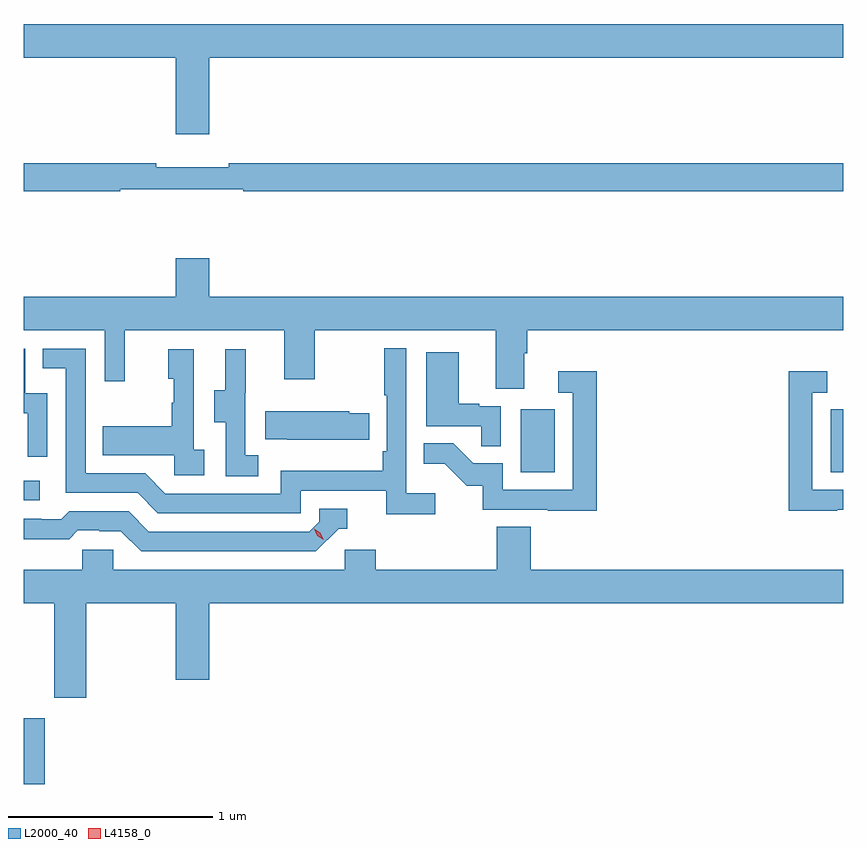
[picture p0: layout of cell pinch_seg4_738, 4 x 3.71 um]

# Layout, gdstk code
import gdstk
lib = gdstk.Library(unit=1e-6, precision=1e-09)
def R(c, l, rs):  # rectangles x0, y0, x1, y1
    for r in rs: c.add(gdstk.rectangle(r[:2], r[2:], *l))
def P(c, l, *ps):  # polygons
    for p in ps: c.add(gdstk.Polygon(p, *l))
L2000_40 = (2000, 40)
L4158_0 = (4158, 0)

pinch_seg4_738 = lib.new_cell('pinch_seg4_738')
R(pinch_seg4_738, L2000_40, [(871.559,822.577,871.66,822.898), (871.559,823.962,871.636,824.058), (873.986,824.1,874.15,824.407), (875.498,824.1,875.559,824.407)])
P(pinch_seg4_738, L2000_40, [(872.464,826.124),(875.559,826.124),(875.559,826.288),(871.559,826.288),(871.559,826.124),(872.3,826.124),(872.3,825.75),(872.464,825.75)],
  [(872.03,825.48),(872.63,825.48),(872.63,825.472),(875.559,825.472),(875.559,825.608),(872.56,825.608),(872.56,825.589),(872.204,825.589),(872.204,825.608),(871.559,825.608),(871.559,825.472),(872.03,825.472)],
  [(874.003,824.68),(874.016,824.68),(874.016,824.792),(875.559,824.792),(875.559,824.956),(872.464,824.956),(872.464,825.145),(872.3,825.145),(872.3,824.956),(871.559,824.956),(871.559,824.792),(871.953,824.792),(871.953,824.544),(872.051,824.544),(872.051,824.792),(872.831,824.792),(872.831,824.553),(872.979,824.553),(872.979,824.792),(873.863,824.792),(873.863,824.506),(874.003,824.506)],
  [(873.568,823.996),(873.426,823.996),(873.426,824.704),(873.318,824.704),(873.318,824.476),(873.33,824.476),(873.33,824.203),(873.31,824.203),(873.31,824.107),(872.814,824.107),(872.814,823.995),(872.25,823.995),(872.151,824.094),(871.86,824.094),(871.86,824.703),(871.651,824.703),(871.651,824.607),(871.764,824.607),(871.764,823.998),(872.114,823.998),(872.213,823.899),(872.91,823.899),(872.91,824.01),(873.329,824.01),(873.329,823.894),(873.568,823.894)],
  [(871.674,824.484),(871.566,824.484),(871.566,824.703),(871.559,824.703),(871.559,824.387),(871.578,824.387),(871.578,824.175),(871.674,824.175)],
  [(872.44,824.21),(872.388,824.21),(872.388,824.701),(872.264,824.701),(872.264,824.556),(872.29,824.556),(872.29,824.438),(872.28,824.438),(872.28,824.323),(871.945,824.323),(871.945,824.183),(872.292,824.183),(872.292,824.085),(872.44,824.085)],
  [(872.704,824.183),(872.64,824.183),(872.64,824.487),(872.642,824.487),(872.642,824.701),(872.543,824.701),(872.543,824.499),(872.489,824.499),(872.489,824.344),(872.544,824.344),(872.544,824.08),(872.704,824.08)],
  [(873.888,824.421),(873.782,824.421),(873.782,824.434),(873.682,824.434),(873.682,824.686),(873.524,824.686),(873.524,824.325),(873.793,824.325),(873.793,824.227),(873.888,824.227)],
  [(875.531,823.917),(875.559,823.917),(875.559,824.013),(875.409,824.013),(875.409,824.487),(875.482,824.487),(875.482,824.593),(875.293,824.593),(875.293,823.912),(875.531,823.912)],
  [(874.355,824.593),(874.167,824.593),(874.167,824.487),(874.239,824.487),(874.239,824.013),(873.897,824.013),(873.897,824.142),(873.753,824.142),(873.655,824.24),(873.511,824.24),(873.511,824.141),(873.615,824.141),(873.722,824.034),(873.799,824.034),(873.799,823.917),(874.117,823.917),(874.117,823.912),(874.355,823.912)],
  [(873.245,824.388),(873.147,824.388),(873.147,824.398),(872.737,824.398),(872.737,824.261),(872.845,824.261),(872.845,824.258),(873.245,824.258)],
  [(873.096,823.824),(873.139,823.824),(873.139,823.92),(873,823.92),(873,823.857),(872.952,823.809),(872.169,823.809),(872.07,823.908),(871.781,823.908),(871.742,823.869),(871.643,823.869),(871.643,823.872),(871.559,823.872),(871.559,823.773),(871.781,823.773),(871.823,823.815),(871.926,823.815),(871.926,823.812),(872.033,823.812),(872.132,823.713),(872.985,823.713)],
  [(871.995,823.722),(871.845,823.722),(871.845,823.624),(871.559,823.624),(871.559,823.46),(871.708,823.46),(871.708,822.999),(871.863,822.999),(871.863,823.46),(872.3,823.46),(872.3,823.086),(872.464,823.086),(872.464,823.46),(875.559,823.46),(875.559,823.624),(874.034,823.624),(874.034,823.832),(873.869,823.832),(873.869,823.624),(873.278,823.624),(873.278,823.722),(873.126,823.722),(873.126,823.624),(871.995,823.624)])
P(pinch_seg4_738, L4158_0, [(873.022,823.77),(872.992,823.79),(872.976,823.823),(872.976,823.824),(872.977,823.824),(873.007,823.803),(873.022,823.77),(873.022,823.77)])

lib.write_gds('pinch_seg4_738.gds')
